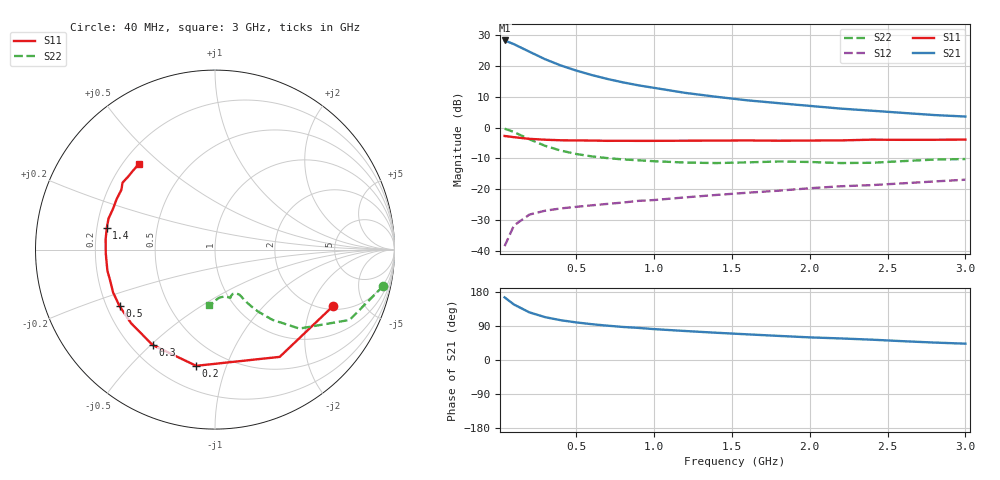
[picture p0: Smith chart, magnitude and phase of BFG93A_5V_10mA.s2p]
! Filename:  BFG93AB.S2P  Version:  2.0
! Philips part #: BFG 93A  Date: Jun 1990
! Bias condition: Vce=5V, Ic=10mA
! IN LINE PINNING: same data as with cross emitter pinning.
#  MHz  S  MA  R  50
! Freq  S11  S21  S12  S22  !GUM [dB]
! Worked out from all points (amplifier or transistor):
!   21 points, 40 MHz to 3 GHz, reference 50 ohm
!   highest |S21| = 28.2 dB at 40 MHz (marker M1)
!   |S21| within 3 dB of that: start of sweep to 173.2 MHz
!   unconditionally stable (mu >= 1): 1.092 GHz to end of sweep
!   at 300 MHz: K = 0.40, MSG = 24.5 dB, |S12| = -26.9 dB
!   at 1 GHz: K = 0.96, MSG = 18.2 dB, |S12| = -23.5 dB
!   at 3 GHz: K = 1.27, MAG = 7.1 dB, |S12| = -16.9 dB
!   lowest NFmin = 1.40 dB at 500 MHz
!   S11 on the Smith chart (normalised r, x): 40 MHz: 2.18, -2.93; 200 MHz: 0.35, -0.79; 300 MHz: 0.28, -0.51; 500 MHz: 0.25, -0.26; 1.4 GHz: 0.24, +0.09; 3 GHz: 0.26, +0.42
40  0.73 -25.4  25.7 165.3  0.012 78.0  0.959 -12.2
100  0.698 -58.9  22.38 146.4  0.026 63.8  0.846 -27.6
200  0.656 -99.2  16.87 125.6  0.039 48.8  0.644 -43.1
300  0.635 -123.2  12.78 113.1  0.045 43.1  0.506 -50.7
400  0.622 -138.7  10.13 105.0  0.049 41.0  0.424 -55.0
500  0.618 -149.4  8.369 99.2  0.052 40.7  0.373 -57.5
600  0.616 -157.2  7.082 94.5  0.055 41.3  0.341 -59.0
700  0.609 -163.7  6.117 90.6  0.058 42.5  0.32 -60.0
800  0.611 -168.9  5.391 87.2  0.061 44.2  0.305 -60.5
900  0.608 -173.5  4.822 84.7  0.065 45.2  0.295 -61.0
1000  0.609 -178.1  4.392 81.5  0.067 46.4  0.285 -61.6
1200  0.612 174.4  3.642 76.5  0.074 49.3  0.271 -64.2
1400  0.615 168.6  3.147 71.9  0.081 51.2  0.266 -68.1
1600  0.618 163.8  2.756 67.7  0.088 52.7  0.273 -71.0
1800  0.612 158.0  2.483 63.6  0.095 54.2  0.282 -72.2
2000  0.616 152.8  2.241 59.7  0.104 55.8  0.277 -74.0
2200  0.619 147.4  2.025 56.9  0.112 56.5  0.266 -78.5
2400  0.636 144.1  1.872 53.6  0.117 57.3  0.269 -84.9
2600  0.632 140.0  1.726 49.6  0.125 58.4  0.286 -90.4
2800  0.634 136.3  1.593 46.0  0.134 59.0  0.303 -93.4
3000  0.638 131.9  1.507 43.1  0.143 57.0  0.309 -95.8
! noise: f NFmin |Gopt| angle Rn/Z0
500  1.4  0.181  70.3  0.191
1000  1.9  0.248  117.9  0.222
2000  2.9  0.473  -169.9  0.134
